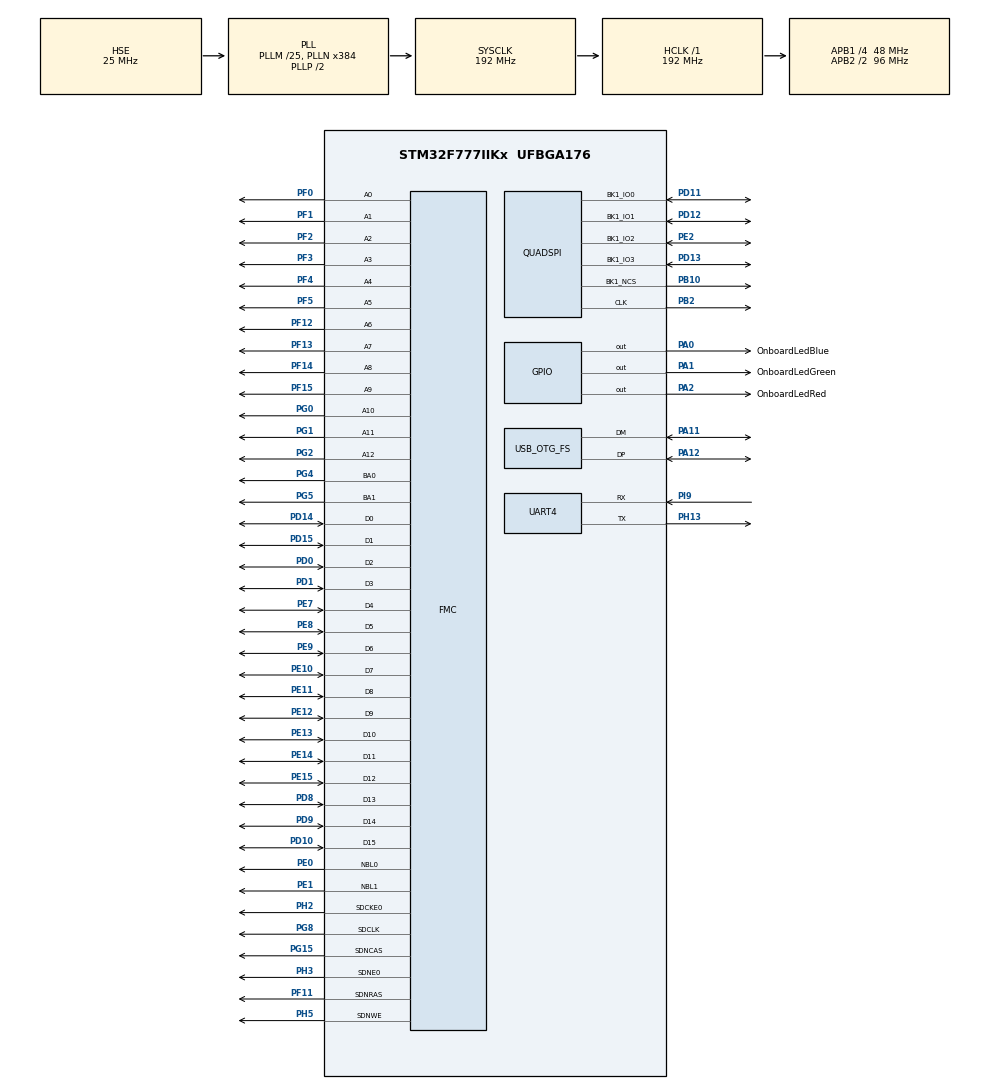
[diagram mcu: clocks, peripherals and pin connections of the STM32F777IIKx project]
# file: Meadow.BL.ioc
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CORTEX_M7.FlashInterface=AXI_Enabled
CRC.InputDataFormat=CRC_INPUTDATA_FORMAT_WORDS
FMC.CASLatency1=FMC_SDRAM_CAS_LATENCY_3
FMC.ColumnBitsNumber1=FMC_SDRAM_COLUMN_BITS_NUM_9
FMC.ExitSelfRefreshDelay1=8
FMC.LoadToActiveDelay1=3
FMC.RCDDelay1=3
FMC.RPDelay1=3
FMC.RPDelay2=3
FMC.ReadBurst1=FMC_SDRAM_RBURST_ENABLE
FMC.ReadBurst2=FMC_SDRAM_RBURST_ENABLE
FMC.ReadPipeDelay1=FMC_SDRAM_RPIPE_DELAY_1
FMC.ReadPipeDelay2=FMC_SDRAM_RPIPE_DELAY_1
FMC.RowCycleDelay1=8
FMC.RowCycleDelay2=8
FMC.SDClockPeriod1=FMC_SDRAM_CLOCK_PERIOD_2
FMC.SDClockPeriod2=FMC_SDRAM_CLOCK_PERIOD_2
FMC.SelfRefreshTime1=5
FMC.WriteRecoveryTime1=3
Mcu.Family=STM32F7
Mcu.Name=STM32F777IIKx
Mcu.Package=UFBGA176
NVIC.OTG_FS_IRQn=true\:0\:0\:false\:false\:true\:false\:true
NVIC.PriorityGroup=NVIC_PRIORITYGROUP_4
PA0/WKUP.GPIO_Label=OnboardLedBlue
PA0/WKUP.Signal=GPIO_Output
PA1.GPIO_Label=OnboardLedGreen
PA1.Signal=GPIO_Output
PA11.Mode=Device_Only
PA11.Signal=USB_OTG_FS_DM
PA12.Mode=Device_Only
PA12.Signal=USB_OTG_FS_DP
PA2.GPIO_Label=OnboardLedRed
PA2.Signal=GPIO_Output
PB10.Mode=Single Bank 1
PB10.Signal=QUADSPI_BK1_NCS
PB2.Mode=Single Bank 1
PB2.Signal=QUADSPI_CLK
PD0.Signal=FMC_D2_DA2
PD1.Signal=FMC_D3_DA3
PD10.Signal=FMC_D15_DA15
PD11.Mode=Single Bank 1
PD11.Signal=QUADSPI_BK1_IO0
PD12.Mode=Single Bank 1
PD12.Signal=QUADSPI_BK1_IO1
PD13.Mode=Single Bank 1
PD13.Signal=QUADSPI_BK1_IO3
PD14.Signal=FMC_D0_DA0
PD15.Signal=FMC_D1_DA1
PD8.Signal=FMC_D13_DA13
PD9.Signal=FMC_D14_DA14
PE0.Signal=FMC_NBL0
PE1.Signal=FMC_NBL1
PE10.Signal=FMC_D7_DA7
PE11.Signal=FMC_D8_DA8
PE12.Signal=FMC_D9_DA9
PE13.Signal=FMC_D10_DA10
PE14.Signal=FMC_D11_DA11
PE15.Signal=FMC_D12_DA12
PE2.Mode=Single Bank 1
PE2.Signal=QUADSPI_BK1_IO2
PE7.Signal=FMC_D4_DA4
PE8.Signal=FMC_D5_DA5
PE9.Signal=FMC_D6_DA6
PF0.Signal=FMC_A0
PF1.Signal=FMC_A1
PF11.Signal=FMC_SDNRAS
PF12.Signal=FMC_A6
PF13.Signal=FMC_A7
PF14.Signal=FMC_A8
PF15.Signal=FMC_A9
PF2.Signal=FMC_A2
PF3.Signal=FMC_A3
PF4.Signal=FMC_A4
PF5.Signal=FMC_A5
PG0.Signal=FMC_A10
PG1.Signal=FMC_A11
PG15.Signal=FMC_SDNCAS
PG2.Signal=FMC_A12
PG4.Signal=FMC_A14_BA0
PG5.Signal=FMC_A15_BA1
PG8.Signal=FMC_SDCLK
PH0/OSC_IN.Mode=HSE-External-Oscillator
PH0/OSC_IN.Signal=RCC_OSC_IN
PH1/OSC_OUT.Mode=HSE-External-Oscillator
PH1/OSC_OUT.Signal=RCC_OSC_OUT
PH13.Mode=Asynchronous
PH13.Signal=UART4_TX
PH2.Mode=SdramChipSelect1_1
PH2.Signal=FMC_SDCKE0
PH3.Mode=SdramChipSelect1_1
PH3.Signal=FMC_SDNE0
PH5.Signal=FMC_SDNWE
PI9.Mode=Asynchronous
PI9.Signal=UART4_RX
ProjectManager.HeapSize=0x200
ProjectManager.StackSize=0x400
ProjectManager.TargetToolchain=STM32CubeIDE
QUADSPI.ClockPrescaler=1
QUADSPI.FlashSize=24
RCC.AHBFreq_Value=192000000
RCC.APB1CLKDivider=RCC_HCLK_DIV4
RCC.APB1Freq_Value=48000000
RCC.APB1TimFreq_Value=96000000
RCC.APB2CLKDivider=RCC_HCLK_DIV2
RCC.APB2Freq_Value=96000000
RCC.APB2TimFreq_Value=192000000
RCC.CortexFreq_Value=192000000
RCC.HCLKFreq_Value=192000000
RCC.HSE_VALUE=25000000
RCC.HSI_VALUE=16000000
RCC.LSE_VALUE=32768
RCC.PLLI2SN=256
RCC.PLLM=25
RCC.PLLN=384
RCC.PLLQ=8
RCC.PLLSAIN=256
RCC.SYSCLKFreq_VALUE=192000000
RCC.SYSCLKSource=RCC_SYSCLKSOURCE_PLLCLK
RCC.USBFreq_Value=48000000
RCC.VCOOutputFreq_Value=384000000
SH.FMC_A0.0=FMC_A0,13b-sda1
SH.FMC_A1.0=FMC_A1,13b-sda1
SH.FMC_A10.0=FMC_A10,13b-sda1
SH.FMC_A11.0=FMC_A11,13b-sda1
SH.FMC_A12.0=FMC_A12,13b-sda1
SH.FMC_A14_BA0.0=FMC_BA0,FourSdramBanks1
SH.FMC_A14_BA0.1=FMC_A14
SH.FMC_A15_BA1.0=FMC_A15
SH.FMC_A15_BA1.1=FMC_BA1,FourSdramBanks1
SH.FMC_A2.0=FMC_A2,13b-sda1
SH.FMC_A3.0=FMC_A3,13b-sda1
SH.FMC_A4.0=FMC_A4,13b-sda1
SH.FMC_A5.0=FMC_A5,13b-sda1
SH.FMC_A6.0=FMC_A6,13b-sda1
SH.FMC_A7.0=FMC_A7,13b-sda1
SH.FMC_A8.0=FMC_A8,13b-sda1
SH.FMC_A9.0=FMC_A9,13b-sda1
SH.FMC_D0_DA0.0=FMC_D0,sd-16b-d1
SH.FMC_D10_DA10.0=FMC_D10,sd-16b-d1
SH.FMC_D11_DA11.0=FMC_D11,sd-16b-d1
SH.FMC_D12_DA12.0=FMC_D12,sd-16b-d1
SH.FMC_D13_DA13.0=FMC_D13,sd-16b-d1
SH.FMC_D14_DA14.0=FMC_D14,sd-16b-d1
SH.FMC_D15_DA15.0=FMC_D15,sd-16b-d1
SH.FMC_D1_DA1.0=FMC_D1,sd-16b-d1
SH.FMC_D2_DA2.0=FMC_D2,sd-16b-d1
SH.FMC_D3_DA3.0=FMC_D3,sd-16b-d1
SH.FMC_D4_DA4.0=FMC_D4,sd-16b-d1
SH.FMC_D5_DA5.0=FMC_D5,sd-16b-d1
SH.FMC_D6_DA6.0=FMC_D6,sd-16b-d1
SH.FMC_D7_DA7.0=FMC_D7,sd-16b-d1
SH.FMC_D8_DA8.0=FMC_D8,sd-16b-d1
SH.FMC_D9_DA9.0=FMC_D9,sd-16b-d1
SH.FMC_NBL0.0=FMC_NBL0,Sd2ByteEnable1
SH.FMC_NBL1.0=FMC_NBL1,Sd2ByteEnable1
SH.FMC_SDCLK.0=FMC_SDCLK,13b-sda1
SH.FMC_SDNCAS.0=FMC_SDNCAS,13b-sda1
SH.FMC_SDNRAS.0=FMC_SDNRAS,13b-sda1
SH.FMC_SDNWE.0=FMC_SDNWE,13b-sda1
USB_DEVICE.APP_RX_DATA_SIZE-CDC_FS=2048
USB_DEVICE.APP_TX_DATA_SIZE-CDC_FS=2048
USB_DEVICE.CLASS_NAME_FS=CDC
USB_DEVICE.MANUFACTURER_STRING-CDC_FS=WildernessLabs
USB_DEVICE.PID_CDC_FS=0xFF01
USB_DEVICE.PRODUCT_STRING_CDC_FS=Meadow Bootloader
USB_DEVICE.VID-CDC_FS=0x2E6A
USB_DEVICE.VirtualMode-CDC_FS=Cdc
USB_DEVICE.VirtualModeFS=Cdc_FS
USB_OTG_FS.VirtualMode=Device_Only
VP_CRC_VS_CRC.Mode=CRC_Activate
VP_USB_DEVICE_VS_USB_DEVICE_CDC_FS.Mode=CDC_FS
board=custom

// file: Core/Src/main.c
/* USER CODE BEGIN Header */
/**
	******************************************************************************
	* @file           : main.c
	* @brief          : Main program body
	******************************************************************************
	* @attention
	*
	* <h2><center>&copy; Copyright (c) 2021 STMicroelectronics.
	* All rights reserved.</center></h2>
	*
	* This software component is licensed by ST under BSD 3-Clause license,
	* the "License"; You may not use this file except in compliance with the
	* License. You may obtain a copy of the License at:
	*                        opensource.org/licenses/BSD-3-Clause
	*
	******************************************************************************
	*/
/* USER CODE END Header */

#include "bootloader.h"
#include "crc.h"
#include "quadspi.h"
#include "usart.h"
#include "usb_device.h"
#include "gpio.h"
#include "fmc.h"

/* USER CODE BEGIN PV */
uint8_t board_version = 0;
uint8_t bootloader_status = bootloader_no_op;
uint32_t resetReason = 0x0a0a;
/* USER CODE END PV */

void SystemClock_Config(void);
/* USER CODE BEGIN PFP */
static void BootMeadowOS(void);
void ClearOTAFlag(uint8_t flag);
void WriteNuttxPrimaryBlock(uint32_t block, uint32_t* data_block, uint32_t block_size);
void SetOTAFlagState(uint8_t flag, uint8_t state);
void ErasePrimaryNuttx(void);
void PerformUpdate(void);
void PerformRollback(void);
void BackupPrimaryImage(void);
uint8_t VerifyPrimaryImage(void);
uint8_t VerifySecondaryImage(void);
void CheckPreviousOperationFailure(void);
/* USER CODE END PFP */

int main(void)
{

  /* MCU Configuration--------------------------------------------------------*/

  /* Reset of all peripherals, Initializes the Flash interface and the Systick. */
  HAL_Init();

  /* USER CODE BEGIN Init */

  //
  //	Grab the RCC clock control and status register contents and save
  //	them for later.
  //
  resetReason = RCC->CSR;
  //
  //	Clear the reset status register as otherwise the bits can hang around.
  //
  __HAL_RCC_CLEAR_RESET_FLAGS();

  /* USER CODE END Init */

  /* Configure the system clock */
  SystemClock_Config();

  /* Initialize all configured peripherals */
  MX_GPIO_Init();

#ifdef ENABLE_BL_CDC
  MX_USB_DEVICE_Init();
#endif
#ifdef ENABLE_BL_UART
  MX_UART4_Init();
#endif
  MX_QUADSPI_Init();
  MX_FMC_Init();
  MX_CRC_Init();
  /* USER CODE BEGIN 2 */

  //	Turn off onboard LEDs
    // HAL_GPIO_WritePin(OnboardLedGreen_GPIO_Port, OnboardLedGreen_Pin, GPIO_PIN_SET);
	// HAL_GPIO_WritePin(OnboardLedBlue_GPIO_Port, OnboardLedBlue_Pin, GPIO_PIN_SET);
	// HAL_GPIO_WritePin(OnboardLedRed_GPIO_Port, OnboardLedRed_Pin, GPIO_PIN_SET);

	// //Turn on Green LED to indicate BL in operation
	// HAL_GPIO_WritePin(OnboardLedGreen_GPIO_Port, OnboardLedGreen_Pin, GPIO_PIN_RESET);

	LogConsole(INIT_MSG, SIZEOF(INIT_MSG));
	//	CONFIG & VERIFY FMC

	FMC_SDRAM_CommandTypeDef clk_en_cmd;
	clk_en_cmd.CommandMode = FMC_SDRAM_CMD_CLK_ENABLE;
	clk_en_cmd.CommandTarget = FMC_SDRAM_CMD_TARGET_BANK1;
	clk_en_cmd.AutoRefreshNumber = 3;
	clk_en_cmd.ModeRegisterDefinition = 32;

	HAL_SDRAM_SendCommand(&hsdram1, &clk_en_cmd, 0xFFFF);
	HAL_Delay(50);
	clk_en_cmd.CommandMode = FMC_SDRAM_CMD_PALL;
	HAL_SDRAM_SendCommand(&hsdram1, &clk_en_cmd, 0xFFFF);
	HAL_Delay(10);
	clk_en_cmd.CommandMode = FMC_SDRAM_CMD_AUTOREFRESH_MODE;
	HAL_SDRAM_SendCommand(&hsdram1, &clk_en_cmd, 0xFFFF);
	HAL_Delay(10);
	clk_en_cmd.CommandMode = FMC_SDRAM_CMD_LOAD_MODE;
	HAL_SDRAM_SendCommand(&hsdram1, &clk_en_cmd, 0xFFFF);
	HAL_Delay(10);
	FMC_SDRAM_ProgramRefreshRate(hsdram1.Instance, 683);
	HAL_SDRAM_WriteProtection_Disable(&hsdram1);

	HAL_Delay(1);

	//	CONFIG & VERIFY QSPI
	QSPI_Disable_QPI();
	QSPI_Disable_4Byte_Addressing();

	uint32_t qspi_jedec_id = 0;
	QSPI_Get_Dev_ID(&qspi_jedec_id);

	if(qspi_jedec_id == QSPI_FLASH_SPANSION_S25FL256L)
	{
		//	v1 board
		LogConsole(VERIFY_QSPI_SUCCESS_MSG_, SIZEOF(VERIFY_QSPI_SUCCESS_MSG_));
		LogConsole(V1_BOARD_DETECT_MSG, SIZEOF(V1_BOARD_DETECT_MSG));

		board_version = 1;
	}
	else if(qspi_jedec_id == QSPI_FLASH_WINBOND_W25Q512JVxxQ || \
			qspi_jedec_id == QSPI_FLASH_WINBOND_W25Q512JVxxM)
	{
		//	v2 board
		LogConsole(VERIFY_QSPI_SUCCESS_MSG_, SIZEOF(VERIFY_QSPI_SUCCESS_MSG_));
		LogConsole(V2_BOARD_DETECT_MSG, SIZEOF(V2_BOARD_DETECT_MSG));

		board_version = 2;
	}
	else
	{
		LogConsole(VERIFY_QSPI_FAIL_MSG, SIZEOF(VERIFY_QSPI_FAIL_MSG));
	}

	QSPI_Enable_QPI();
	QSPI_Enable_4Byte_Addressing();

	CheckPreviousOperationFailure();

#ifdef WAIT_FOR_HOST_COMMS
  	HAL_Delay(100);
	uint8_t data_buff[10];
	while(1)
	{
		memset(data_buff, 0, SIZEOF(data_buff));
		HAL_Delay(100);
#ifdef ENABLE_BL_CDC
		USBD_CDC_SetRxBuffer(&hUsbDeviceFS, &data_buff[0]);
		USBD_CDC_ReceivePacket(&hUsbDeviceFS);
#endif
		if(data_buff[0] == 0x73)	//'s' Character - Continue normal Bootloader Sequence
		{
			break;
		}
		else if((data_buff[0] == 0x63))	//'c' Characters - Verify Image
		{
			if(data_buff[1] == 0x31)	//'c1' - Verify Primary Image
			{
				if(VerifyPrimaryImage())
				{
					LogConsole(PRIMARY_IMG_VERIFY_SUCCESS_MSG, SIZEOF(PRIMARY_IMG_VERIFY_SUCCESS_MSG));
				}
				else
				{
					LogConsole(PRIMARY_IMG_VERIFY_FAIL_MSG, SIZEOF(PRIMARY_IMG_VERIFY_FAIL_MSG));
				}
			}
			else if(data_buff[1] == 0x32)	//'c2' - Verify Secondary Image
			{
				if(VerifySecondaryImage())
				{
					LogConsole(SECONDARY_IMG_VERIFY_SUCCESS_MSG, SIZEOF(SECONDARY_IMG_VERIFY_SUCCESS_MSG));
				}
				else
				{
					LogConsole(SECONDARY_IMG_VERIFY_FAIL_MSG, SIZEOF(SECONDARY_IMG_VERIFY_FAIL_MSG));
				}
			}

		}
		else if((data_buff[0] == 0x65))	//'e' Characters - Erase Image
		{
			if(data_buff[1] == 0x31)	//'e1' - Erase Primary Image
			{
				LogConsole(ERASE_PRIMARY_START_MSG, SIZEOF(ERASE_PRIMARY_START_MSG));
				ErasePrimaryNuttx();
				LogConsole(ERASE_PRIMARY_COMPLETE_MSG, SIZEOF(ERASE_PRIMARY_COMPLETE_MSG));

			}
			else if(data_buff[1] == 0x32)	//'e2' - Erase Secondary Image
			{
				LogConsole(ERASE_SECONDARY_START_MSG, SIZEOF(ERASE_SECONDARY_START_MSG));
				EraseSecondaryNuttx();
				LogConsole(ERASE_SECONDARY_COMPLETE_MSG, SIZEOF(ERASE_SECONDARY_COMPLETE_MSG));
			}

		}
		else if(data_buff[0] == 0x75)	//'u' Character - Perform Update
		{
			PerformUpdate();
		}
		else if(data_buff[0] == 0x72)	//'r' Character - Perform Rollback
		{
			PerformRollback();
		}
		else if(data_buff[0] == 0x62)	//'b' Character - Perform Image Backup
		{
			BackupPrimaryImage();
		}
		else if(data_buff[0] == 0x66)	//'f' Character - Get OTA flags
		{
			PrintOtaFlags();
		}
		else if((data_buff[0] == 0x71))	//'q' Character - Read QSPI status reg
		{
			if((data_buff[1] == 0x31))	// '1' Character - Read status reg 1
			{
				uint8_t data = 0;
				QSPI_Read_StatusRegisterOne(&data);
				char data_char[5];
				memset(data_char, 0 , SIZEOF(data_char));
				sprintf(data_char, "%d", data);
				LogConsole("Status Reg 1: ", SIZEOF("Status Reg 1: "));
				LogConsole(data_char, SIZEOF(data_char));
				LogConsole("\r\n", SIZEOF("\r\n"));
			}
		}
		else if((data_buff[0] == 0x74))	//'t' Character - Test commands
		{
			if((data_buff[1] == 0x31))	// '1' Character - Test command 1
			{
				uint8_t mono_img_header[8];
				QSPI_Quad_Read(QSPI_FLASH_LOC_INTERNAL, mono_img_header, SIZEOF(mono_img_header));

				char mono_version_msg[60];
				memset(mono_version_msg, 0 , SIZEOF(mono_version_msg));
				sprintf(mono_version_msg, "Found signature %02X%02X%02X%02X, Mono Version %u.%u.%u.%u\r\n",	\
				mono_img_header[0],	mono_img_header[1], mono_img_header[2], mono_img_header[3], \
				mono_img_header[7],mono_img_header[6],mono_img_header[5],mono_img_header[4]);

				LogConsole(mono_version_msg, SIZEOF(mono_version_msg));

			}
			if((data_buff[1] == 0x32))	// '2' Character - Test command 2
			{
				uint8_t data_buff[8];
				QSPI_Quad_Read(NUTTX_SEC_QSPI_LOC, data_buff, SIZEOF(data_buff));

				char data_buff_str[60];
				memset(data_buff_str, 0 , SIZEOF(data_buff_str));
				sprintf(data_buff_str, "Found data %02X%02X%02X%02X%02X%02X%02X%02X\r\n",	\
				data_buff[0],	data_buff[1], data_buff[2], data_buff[3], \
				data_buff[4],data_buff[5],data_buff[6],data_buff[7]);

				LogConsole(data_buff_str, SIZEOF(data_buff_str));

			}
		}
		else if(data_buff[0] == 0x68)	//'h' Character - Display help message
		{
			LogConsole(CONSOLE_HELP_MSG, SIZEOF(CONSOLE_HELP_MSG));
		}
		else if((data_buff[0] == 0x76) && (data_buff[1] == 0x3F))	//'v?' Characters - Return the Bootloader Version
		{
			PrintVersion();

			//!<TODO:	Test Section Start
				char dev_id[9];
				memset(dev_id, 0 , SIZEOF(dev_id));

				sprintf(&dev_id[0], "%08lX", qspi_jedec_id);
				LogConsole("QSPI ID: ", SIZEOF("QSPI ID: "));
				LogConsole(dev_id, SIZEOF(dev_id));
				LogConsole("\r\n", SIZEOF("\r\n"));

				//	Test Section end
		}
	}

#endif

	//	UPDATE CHECK STAGE#
	//	If there is an update pending
	if(getOTAFlagState(update_flag) == update_nuttx_pending)
	{
		if(VerifySecondaryImage())
		{
			PerformUpdate();
		}
		else
		{
			SetOTAFlagState(update_failure_flag, update_fail_invalid_image);
		}
	}
	//	If previous update operation failed, perform recovery.
	else if(getOTAFlagState(update_flag) == update_nuttx_failed)
	{
		if(getOTAFlagState(update_failure_flag) == update_fail_stage_one)
		{
			if(VerifySecondaryImage())
			{
				PerformUpdate();
			}
			else
			{
				SetOTAFlagState(update_failure_flag, update_fail_invalid_image);
			}
		}
		else if(getOTAFlagState(update_failure_flag) == update_fail_stage_three)
		{
			if(VerifySecondaryImage())
			{
				PerformRollback();

			}
		}

	}

	//	ROLLBACK CHECK STAGE
	//	Rollback process takes approx 5s.
	else if(getOTAFlagState(rollback_flag) == rollback_nuttx_pending || \
				getOTAFlagState(rollback_flag) == rollback_nuttx_failed)
	{
		if(VerifySecondaryImage())
		{
			PerformRollback();
		}
		else
		{
			SetOTAFlagState(rollback_failure_flag, rollback_fail_invalid_image);
		}
	}
	else if(getOTAFlagState(backup_flag) == backup_nuttx_pending || \
				getOTAFlagState(backup_flag) == backup_nuttx_failed)
	{
		//!< TODO: At this point, bootloader doesn't check or care about primary image. Is check needed?
		BackupPrimaryImage();
	}

	//	BOOT STAGE
	//	This performs CRC check on primary image and compares it to crc result stored in last 4 bytes during build process.
	//	If CRC passes, then boot; otherwise panic (or rollback if rollback_on_fail_flag is set to enabled).
	LogConsole(NUTTX_IMG_CHK_MSG, SIZEOF(NUTTX_IMG_CHK_MSG));

	if(VerifyPrimaryImage())
	{
		LogConsole(PRIMARY_IMG_VERIFY_SUCCESS_MSG, SIZEOF(PRIMARY_IMG_VERIFY_SUCCESS_MSG));
		BootMeadowOS();
	}
	else
	{
		LogConsole(PRIMARY_IMG_VERIFY_FAIL_MSG, SIZEOF(PRIMARY_IMG_VERIFY_FAIL_MSG));

		if(getOTAFlagState(rollback_on_fail_flag) == rollback_on_fail_enabled)
		{
			PerformRollback();

			if(VerifyPrimaryImage())
			{
				LogConsole(PRIMARY_IMG_VERIFY_SUCCESS_MSG, SIZEOF(PRIMARY_IMG_VERIFY_SUCCESS_MSG));
				BootMeadowOS();
			}
			else
			{
				//Turn off Green LED and blink Blue LED to indicate image check fail.
				LogConsole(PRIMARY_IMG_VERIFY_FAIL_MSG, SIZEOF(PRIMARY_IMG_VERIFY_FAIL_MSG));
				// HAL_GPIO_WritePin(OnboardLedGreen_GPIO_Port, OnboardLedGreen_Pin, GPIO_PIN_SET);
				while(1)
				{
					// HAL_GPIO_TogglePin(OnboardLedRed_GPIO_Port, OnboardLedBlue_Pin);
					HAL_Delay(250);
				}
			}
		}
		else
		{
			//Turn off Green LED and blink Blue LED to indicate image check fail.
			// HAL_GPIO_WritePin(OnboardLedGreen_GPIO_Port, OnboardLedGreen_Pin, GPIO_PIN_SET);
			while(1)
			{
				// HAL_GPIO_TogglePin(OnboardLedRed_GPIO_Port, OnboardLedBlue_Pin);
				HAL_Delay(3000);
			}
		}
	}

	//	This point should never be reached by the bootloader.
	while(1);

  /* USER CODE END 2 */

  /* Infinite loop */

}

void SystemClock_Config(void)
{
  RCC_OscInitTypeDef RCC_OscInitStruct = {0};
  RCC_ClkInitTypeDef RCC_ClkInitStruct = {0};
  RCC_PeriphCLKInitTypeDef PeriphClkInitStruct = {0};

  /** Configure the main internal regulator output voltage
  */
  __HAL_RCC_PWR_CLK_ENABLE();
  __HAL_PWR_VOLTAGESCALING_CONFIG(PWR_REGULATOR_VOLTAGE_SCALE1);
  /** Initializes the CPU, AHB and APB busses clocks
  */
  RCC_OscInitStruct.OscillatorType = RCC_OSCILLATORTYPE_HSE;
  RCC_OscInitStruct.HSEState = RCC_HSE_ON;
  RCC_OscInitStruct.PLL.PLLState = RCC_PLL_ON;
  RCC_OscInitStruct.PLL.PLLSource = RCC_PLLSOURCE_HSE;
  RCC_OscInitStruct.PLL.PLLM = 25;
  RCC_OscInitStruct.PLL.PLLN = 384;
  RCC_OscInitStruct.PLL.PLLP = RCC_PLLP_DIV2;
  RCC_OscInitStruct.PLL.PLLQ = 8;
  if (HAL_RCC_OscConfig(&RCC_OscInitStruct) != HAL_OK)
  {
    Error_Handler();
  }
  /** Activate the Over-Drive mode
  */
  if (HAL_PWREx_EnableOverDrive() != HAL_OK)
  {
    Error_Handler();
  }
  /** Initializes the CPU, AHB and APB busses clocks
  */
  RCC_ClkInitStruct.ClockType = RCC_CLOCKTYPE_HCLK|RCC_CLOCKTYPE_SYSCLK
                              |RCC_CLOCKTYPE_PCLK1|RCC_CLOCKTYPE_PCLK2;
  RCC_ClkInitStruct.SYSCLKSource = RCC_SYSCLKSOURCE_PLLCLK;
  RCC_ClkInitStruct.AHBCLKDivider = RCC_SYSCLK_DIV1;
  RCC_ClkInitStruct.APB1CLKDivider = RCC_HCLK_DIV4;
  RCC_ClkInitStruct.APB2CLKDivider = RCC_HCLK_DIV2;

  if (HAL_RCC_ClockConfig(&RCC_ClkInitStruct, FLASH_LATENCY_6) != HAL_OK)
  {
    Error_Handler();
  }

#ifdef ENABLE_BL_UART
  PeriphClkInitStruct.PeriphClockSelection = RCC_PERIPHCLK_UART4|RCC_PERIPHCLK_CLK48;
  PeriphClkInitStruct.Uart4ClockSelection = RCC_UART4CLKSOURCE_PCLK1;
#else
  PeriphClkInitStruct.PeriphClockSelection = RCC_PERIPHCLK_CLK48;
#endif
  PeriphClkInitStruct.Clk48ClockSelection = RCC_CLK48SOURCE_PLL;
  if (HAL_RCCEx_PeriphCLKConfig(&PeriphClkInitStruct) != HAL_OK)
  {
    Error_Handler();
  }
}

/* USER CODE BEGIN 4 */

//static void MX_GPIO_DeInit(void)
//{
//  GPIO_InitTypeDef GPIO_InitStruct = {0};
//
//  /* GPIO Ports Clock Enable */
//  __HAL_RCC_GPIOA_CLK_ENABLE();
//
//  /*Configure GPIO pins : OnboardLedGreen_Pin OnboardLedBlue_Pin OnboardLedRed_Pin */
//  HAL_GPIO_DeInit(GPIOA, OnboardLedGreen_Pin);
//  HAL_GPIO_DeInit(GPIOA, OnboardLedBlue_Pin);
//  HAL_GPIO_DeInit(GPIOA, OnboardLedRed_Pin);
//  __HAL_RCC_GPIOA_CLK_DISABLE();
//
//
//}
void NVIC_DeInit(void)
{
	uint8_t tmp;

	/* Disable all interrupts */
	NVIC->ICER[0] = 0xFFFFFFFF;
	NVIC->ICER[1] = 0x00000001;
	/* Clear all pending interrupts */
	NVIC->ICPR[0] = 0xFFFFFFFF;
	NVIC->ICPR[1] = 0x00000001;

	/* Clear all interrupt priority */
	for (tmp = 0; tmp < 32; tmp++)
	{
		NVIC->IP[tmp] = 0x00;
	}
}

void NVIC_SCBDeInit(void)
{
    uint8_t tmp;

    SCB->ICSR = 0x0A000000;
    SCB->VTOR = 0x08040000;
    SCB->AIRCR = 0x05FA0000;
    SCB->SCR = 0x00000000;
    SCB->CCR = 0x00000000;

    for (tmp = 0; tmp < 32; tmp++) {
        SCB->SHPR[tmp] = 0x00;
    }

    SCB->SHCSR = 0x00000000;
    SCB->CFSR = 0xFFFFFFFF;
    SCB->HFSR = 0xFFFFFFFF;
    SCB->DFSR = 0xFFFFFFFF;
}

void BootMeadowOS(void)
{
	LogConsole(JUMP_MSG, SIZEOF(JUMP_MSG));
	uint32_t i=0;
	void (*JumpOS)(void);

	//	De-Init anything that uses HAL here before Systick timer Disabled
#ifdef ENABLE_BL_UART
	HAL_UART_DeInit(&huart4);
#endif
#ifdef ENABLE_BL_CDC
	USBD_DeInit(&hUsbDeviceFS);
#endif
	QSPI_Disable_4Byte_Addressing();
	QSPI_Disable_QPI();
	HAL_QSPI_DeInit(&hqspi);

	//Turn off Green LED to indicate exiting BL
	// HAL_GPIO_WritePin(OnboardLedGreen_GPIO_Port, OnboardLedGreen_Pin, GPIO_PIN_SET);

	//	Reset RCC clock Config to default state
	HAL_RCC_DeInit();

	// Disable all interrupts
	__disable_irq();

	// Disable Systick timer
	SysTick->CTRL = 0;

	// Clear Interrupt Enable Register & Interrupt Pending Register
	for (i=0;i<8;i++)
	{
		NVIC->ICER[i]=0xFFFFFFFF;
		NVIC->ICPR[i]=0xFFFFFFFF;
	}

	__DSB();
	__ISB();

	// Set up the jump to Nuttx address + 4 (entry point).
	JumpOS = (void (*)(void)) (*((uint32_t *) ((NUTTX_PRI_LOC + 4))));

	// Set VTOR before re-enabling interrupts so any NMI or fault that fires
	// immediately after __enable_irq() uses the NuttX vector table, not the
	// bootloader's stale table.
	SCB->VTOR = NUTTX_PRI_LOC;

	// Re-enable all interrupts
	__enable_irq();

	// Set the main stack pointer to the Nuttx stack
	__set_MSP(*(uint32_t *)NUTTX_PRI_LOC);

	SysTick->CTRL = 0;
	SysTick->LOAD = 0;
	SysTick->VAL  = 0;

	//
	//	Write the reset reason into battery backed register 30 ready
	//	for the OS to pick up when it starts.
	//
	HAL_PWR_EnableBkUpAccess();
	*((uint32_t *) 0x400028c8) = resetReason;

    HAL_DeInit();

    // Perform Jump
	JumpOS();

	while (1)
	{
	// Code should never reach this loop
	}
}

void ErasePrimaryNuttx(void)
{
	HAL_FLASH_Unlock();

	FLASH_Erase_Sector(FLASH_SECTOR_5, FLASH_VOLTAGE_RANGE_3);
	FLASH_Erase_Sector(FLASH_SECTOR_6, FLASH_VOLTAGE_RANGE_3);
	FLASH_Erase_Sector(FLASH_SECTOR_7, FLASH_VOLTAGE_RANGE_3);
	FLASH_Erase_Sector(FLASH_SECTOR_8, FLASH_VOLTAGE_RANGE_3);
	FLASH_Erase_Sector(FLASH_SECTOR_9, FLASH_VOLTAGE_RANGE_3);
	FLASH_Erase_Sector(FLASH_SECTOR_10, FLASH_VOLTAGE_RANGE_3);
	FLASH_Erase_Sector(FLASH_SECTOR_11, FLASH_VOLTAGE_RANGE_3);

	HAL_FLASH_Lock();
}

//	Write Primary nuttx block of 256Kbytes
void WriteNuttxPrimaryBlock(uint32_t block, uint32_t* data_block, uint32_t block_size)
{
	HAL_FLASH_Unlock();

	uint32_t words_to_flash = (block_size / 4);	//	256K / 4bytes = 0x10000
	uint32_t index = 0;
	while(index < words_to_flash)
	{
		HAL_FLASH_Program(FLASH_TYPEPROGRAM_WORD, (NUTTX_PRI_LOC + (block * 0x40000) + (index*4)), *((uint32_t*)(data_block + index)));
		index++;
	}

	HAL_FLASH_Lock();
}

void setOTAData(uint8_t *buf)
{
	uint8_t *zeroes = calloc (QSPI_PAGE_SIZE, 1);
	QSPI_Quad_Write_Page(OTA_DATA_LOC, zeroes, QSPI_PAGE_SIZE);
	QSPI_Quad_Write_Page(OTA_DATA_LOC, buf, QSPI_PAGE_SIZE);
	free(zeroes);
}

uint8_t * getOTAData()
{
	uint8_t *data_buf = calloc (QSPI_PAGE_SIZE, 1);
	QSPI_Quad_Read(OTA_DATA_LOC, data_buf, QSPI_PAGE_SIZE);
	return data_buf;
}

void SetOTAFlagState(uint8_t flag, uint8_t state)
{
	uint8_t *ota_state = getOTAData();
	memset((ota_state + flag), state, 1);
	setOTAData(ota_state);

	free(ota_state);
}

uint8_t getOTAFlagState(uint8_t flag)
{
	uint8_t *ota_state = getOTAData();
	uint8_t val = *(ota_state + flag);
	free(ota_state);
	return val;
}

void ClearOTAFlag(uint8_t flag)
{
	uint8_t *ota_state = getOTAData();
	memset((ota_state + flag), 0, 1);
	setOTAData(ota_state);
	free(ota_state);
}

void PerformUpdate(void)
{
	bootloader_status = bootloader_update;
	LogConsole(UPDATE_START_MSG, SIZEOF(UPDATE_START_MSG));
	// HAL_GPIO_WritePin(OnboardLedBlue_GPIO_Port, OnboardLedBlue_Pin, GPIO_PIN_RESET);
	SetOTAFlagState(update_flag, update_nuttx_in_progress);
	SetOTAFlagState(update_failure_flag, update_fail_stage_one);
	//	Stage 1 of 3: Copy nuttx kernel and user update from NUTTX_SEC_QSPI_LOC into SDRAM
	//	This roughly takes 2s
	LogConsole(UPDATE_STAGE_1_START_MSG, SIZEOF(UPDATE_STAGE_1_START_MSG));

	//	Create 256K block in internal RAM for copy operations
	uint8_t *data_buff;
	data_buff = malloc(IO_BLOCK_SIZE);

	for(uint8_t i = 0; i < (NUTTX_SIZE/IO_BLOCK_SIZE); i++)
	{
		memset(data_buff, 0 , IO_BLOCK_SIZE);
		QSPI_Quad_Read((NUTTX_SEC_QSPI_LOC) + (i*IO_BLOCK_SIZE), data_buff, IO_BLOCK_SIZE);
		memcpy((uint32_t*)(SDRAM_LOC  + (i*IO_BLOCK_SIZE)), data_buff, IO_BLOCK_SIZE);
	}

	//	Destroy 256K block
	free(data_buff);

	//	Stage 2 of 3: Copy nuttx kernel and user current from Primary Location into NUTTX_SEC_QSPI_LOC
	//	This roughly takes 15s

	LogConsole(UPDATE_STAGE_2_START_MSG, SIZEOF(UPDATE_STAGE_2_START_MSG));
	SetOTAFlagState(update_failure_flag, update_fail_stage_two);
	EraseSecondaryNuttx();

	for(uint32_t i = 0; i < (NUTTX_SIZE/QSPI_PAGE_SIZE); i++)
	{
		QSPI_Quad_Write_Page((NUTTX_SEC_QSPI_LOC) + (i * QSPI_PAGE_SIZE), (uint8_t*)(NUTTX_PRI_LOC + (QSPI_PAGE_SIZE * i)), QSPI_PAGE_SIZE);
	}

	//	Stage 3 of 3: Copy nuttx kernel and user update from SDRAM into Primary Location
	//	This roughly takes 15s

	//	Flash erase disables the blink interrupt. Keep Blue LED on to avoid user confusion
	// HAL_GPIO_WritePin(OnboardLedBlue_GPIO_Port, OnboardLedBlue_Pin, GPIO_PIN_RESET);
	LogConsole(UPDATE_STAGE_3_START_MSG, SIZEOF(UPDATE_STAGE_3_START_MSG));
	SetOTAFlagState(update_failure_flag, update_fail_stage_three);

	ErasePrimaryNuttx();

	for(uint8_t i = 0; i < (NUTTX_SIZE/IO_BLOCK_SIZE); i++)
	{
		WriteNuttxPrimaryBlock(i, (uint32_t*)(SDRAM_LOC  + (i*IO_BLOCK_SIZE)), IO_BLOCK_SIZE);
	}

	SetOTAFlagState(update_flag, update_nuttx_complete);
	SetOTAFlagState(update_failure_flag, update_fail_none);
	// HAL_GPIO_WritePin(OnboardLedBlue_GPIO_Port, OnboardLedBlue_Pin, GPIO_PIN_SET);
	LogConsole(UPDATE_COMPLETE_MSG, SIZEOF(UPDATE_COMPLETE_MSG));
	bootloader_status = bootloader_no_op;
}

void PerformRollback(void)
{
	//!<TODO:	Set a ROLLBACK_INTERRUPTED flag that will be cleared at the end of the rollback progress (right before rollback_nuttx_pending is cleared)
	bootloader_status = bootloader_rollback;
	LogConsole(ROLLBACK_START_MSG, SIZEOF(ROLLBACK_START_MSG));
	// HAL_GPIO_WritePin(OnboardLedRed_GPIO_Port, OnboardLedRed_Pin, GPIO_PIN_RESET);
	SetOTAFlagState(rollback_flag, rollback_nuttx_in_progress);
	SetOTAFlagState(rollback_failure_flag, rollback_fail);
	//	Stage 1 of 1: Copy nuttx kernel and user previous from Secondary Location into Primary Location.

	//	Create 256K block in internal RAM for copy operations
	uint8_t *data_buff;
	data_buff = malloc(IO_BLOCK_SIZE);

	//	Flash erase disables the blink interrupt. Keep Red LED on to avoid user confusion
	// HAL_GPIO_WritePin(OnboardLedRed_GPIO_Port, OnboardLedRed_Pin, GPIO_PIN_RESET);
	ErasePrimaryNuttx();
	for(uint8_t i = 0; i < (NUTTX_SIZE/IO_BLOCK_SIZE); i++)
	{
		memset(data_buff, 0 , IO_BLOCK_SIZE);
		QSPI_Quad_Read((NUTTX_SEC_QSPI_LOC) + (i*IO_BLOCK_SIZE), data_buff, IO_BLOCK_SIZE);
		WriteNuttxPrimaryBlock(i, (uint32_t*)data_buff, IO_BLOCK_SIZE);
	}

	//	Destroy 256K block
	free(data_buff);

	SetOTAFlagState(rollback_flag, rollback_nuttx_complete);
	SetOTAFlagState(rollback_failure_flag, rollback_fail_none);
	LogConsole(ROLLBACK_COMPLETE_MSG, SIZEOF(ROLLBACK_COMPLETE_MSG));
	// HAL_GPIO_WritePin(OnboardLedRed_GPIO_Port, OnboardLedRed_Pin, GPIO_PIN_SET);
	bootloader_status = bootloader_no_op;
}

void BackupPrimaryImage(void)
{
	bootloader_status = bootloader_backup;
	LogConsole(BACKUP_START_MSG, SIZEOF(BACKUP_START_MSG));
	SetOTAFlagState(backup_flag, backup_nuttx_in_progress);
	SetOTAFlagState(backup_failure_flag, backup_fail);
	//	Stage 1 of 1: Copy nuttx kernel and user current from Primary Location into NUTTX_SEC_QSPI_LOC
	EraseSecondaryNuttx();

	for(uint32_t i = 0; i < (NUTTX_SIZE/QSPI_PAGE_SIZE); i++)
	{
		QSPI_Quad_Write_Page((NUTTX_SEC_QSPI_LOC) + (i * QSPI_PAGE_SIZE), (uint8_t*)(NUTTX_PRI_LOC + (QSPI_PAGE_SIZE * i)), QSPI_PAGE_SIZE);
	}
	SetOTAFlagState(backup_flag, backup_nuttx_complete);
	SetOTAFlagState(backup_failure_flag, backup_fail_none);
	LogConsole(BACKUP_COMPLETE_MSG, SIZEOF(BACKUP_COMPLETE_MSG));
	bootloader_status = bootloader_no_op;
}

uint8_t VerifyPrimaryImage(void)
{
	uint32_t primary_crc = HAL_CRC_Calculate(&hcrc, (uint32_t*)NUTTX_PRI_LOC, 0x6FFFF);	//Size in bytes
	if(primary_crc == *(uint32_t*)NUTTX_PRI_CRC_LOC)
	{
		return crc_pass;
	}
	else
	{
		return crc_fail;
	}

}

uint8_t VerifySecondaryImage(void)
{
	//	Create 256K block in internal RAM for copy operations
	uint8_t *data_buff;
	data_buff = malloc(IO_BLOCK_SIZE);

	//	Buffer secondary image from QSPI to internal SDRAM in 256K chunks
	for(uint8_t i = 0; i < (NUTTX_SIZE/IO_BLOCK_SIZE); i++)
	{
		memset(data_buff, 0 , IO_BLOCK_SIZE);
		QSPI_Quad_Read((NUTTX_SEC_QSPI_LOC) + (i*IO_BLOCK_SIZE), data_buff, IO_BLOCK_SIZE);
		memcpy((uint32_t*)(SDRAM_LOC  + (i*IO_BLOCK_SIZE)), data_buff, IO_BLOCK_SIZE);
	}

	//	Destroy 256K block
	free(data_buff);

	uint32_t secondary_crc = HAL_CRC_Calculate(&hcrc, (uint32_t*)SDRAM_LOC, 0x6FFFF);	//Size in bytes
	if(secondary_crc == *(uint32_t*)(SDRAM_LOC + NUTTX_SIZE - 4))
	{
		return crc_pass;
	}
	else
	{
		return crc_fail;
	}
}

void CheckPreviousOperationFailure(void)
{
	if(getOTAFlagState(update_failure_flag) != update_fail_none)
	{
		SetOTAFlagState(update_flag, update_nuttx_failed);
	}
	if(getOTAFlagState(rollback_failure_flag) != rollback_fail_none)
	{
		SetOTAFlagState(rollback_flag, rollback_nuttx_failed);
	}
	if(getOTAFlagState(backup_failure_flag) != backup_fail_none)
	{
		SetOTAFlagState(backup_flag, backup_nuttx_failed);
	}
}
/* USER CODE END 4 */

void Error_Handler(void)
{
}

/************************ (C) COPYRIGHT STMicroelectronics *****END OF FILE****/
